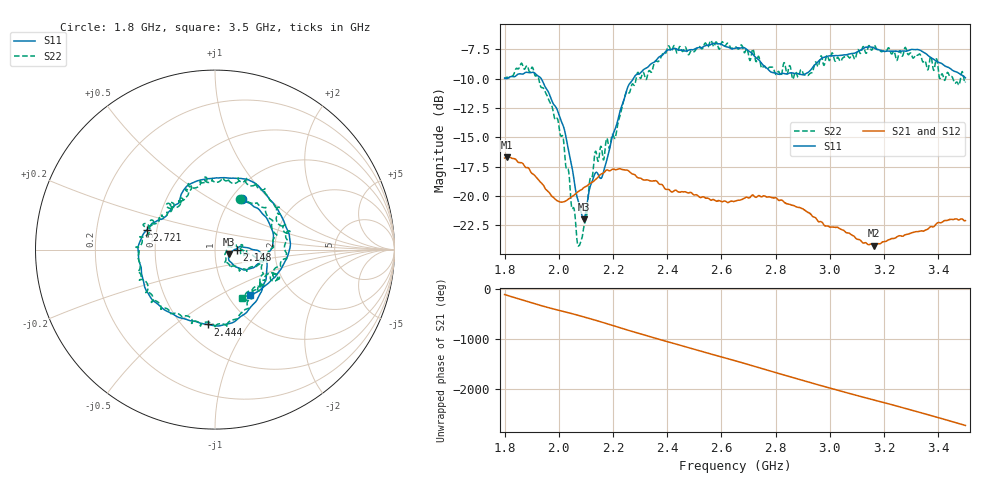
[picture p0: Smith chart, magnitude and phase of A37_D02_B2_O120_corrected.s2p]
! Created with skrf 1.9.0 (http://scikit-rf.org).
# Hz S RI R 50.0
!freq ReS11 ImS11 ReS21 ImS21 ReS12 ImS12 ReS22 ImS22
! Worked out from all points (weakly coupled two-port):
!   1601 points, 1.8 GHz to 3.5 GHz, reference 50 ohm
!   highest |S21| = -16.68 dB at 1.81 GHz (marker M1); lowest = -24.2 dB at 3.163 GHz (marker M2)
!   lowest |S11| = -22.0 dB at 2.092 GHz (marker M3), VSWR 1.17, Z = 58.1 - j2.86 ohm
!   |S11| at or under -10 dB: 1.935 GHz to 2.275 GHz (339.6 MHz wide, 16.1 % of centre)
!   |S22| runs from -24.3 to -6.7 dB; largest |S21 - S12| = 0.0025
!   S11 on the Smith chart (normalised r, x): 1.8 GHz: 1.12, +0.70; 2.148 GHz: 1.28, +0.00; 2.444 GHz: 0.66, -0.66; 2.721 GHz: 0.44, +0.12; 3.5 GHz: 1.26, -0.71
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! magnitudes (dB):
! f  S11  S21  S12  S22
! 1.8 GHz  -9.9  -16.8  -16.8  -10.0
! 1.81 GHz  -10.0  -16.7  -16.7  -9.9
! 1.901 GHz  -9.5  -18.1  -18.0  -9.0
! 1.952 GHz  -10.8  -19.4  -19.4  -11.2
! 2.019 GHz  -14.2  -20.5  -20.5  -15.6
! 2.07 GHz  -20.3  -19.6  -19.7  -24.2
! 2.084 GHz  -21.5  -19.5  -19.4  -23.7
! 2.092 GHz  -22.0  -19.3  -19.3  -22.7
! 2.13 GHz  -18.2  -18.7  -18.7  -16.8
! 2.148 GHz  -18.3  -18.3  -18.3  -16.7
! 2.209 GHz  -14.2  -17.8  -17.7  -15.0
! 2.258 GHz  -10.5  -17.9  -17.8  -11.2
! 2.367 GHz  -8.2  -18.9  -18.8  -8.5
! 2.444 GHz  -7.6  -19.7  -19.7  -7.3
! 2.65 GHz  -7.4  -20.4  -20.4  -7.3
! 2.721 GHz  -8.1  -20.0  -19.9  -7.9
! 2.808 GHz  -9.6  -20.3  -20.2  -9.4
! 2.934 GHz  -9.1  -21.7  -21.6  -9.5
! 3.163 GHz  -7.4  -24.2  -24.2  -7.2
! 3.217 GHz  -7.6  -23.7  -23.7  -7.4
! 3.33 GHz  -7.5  -23.0  -23.0  -7.9
! 3.5 GHz  -9.9  -22.1  -22.1  -10.2
